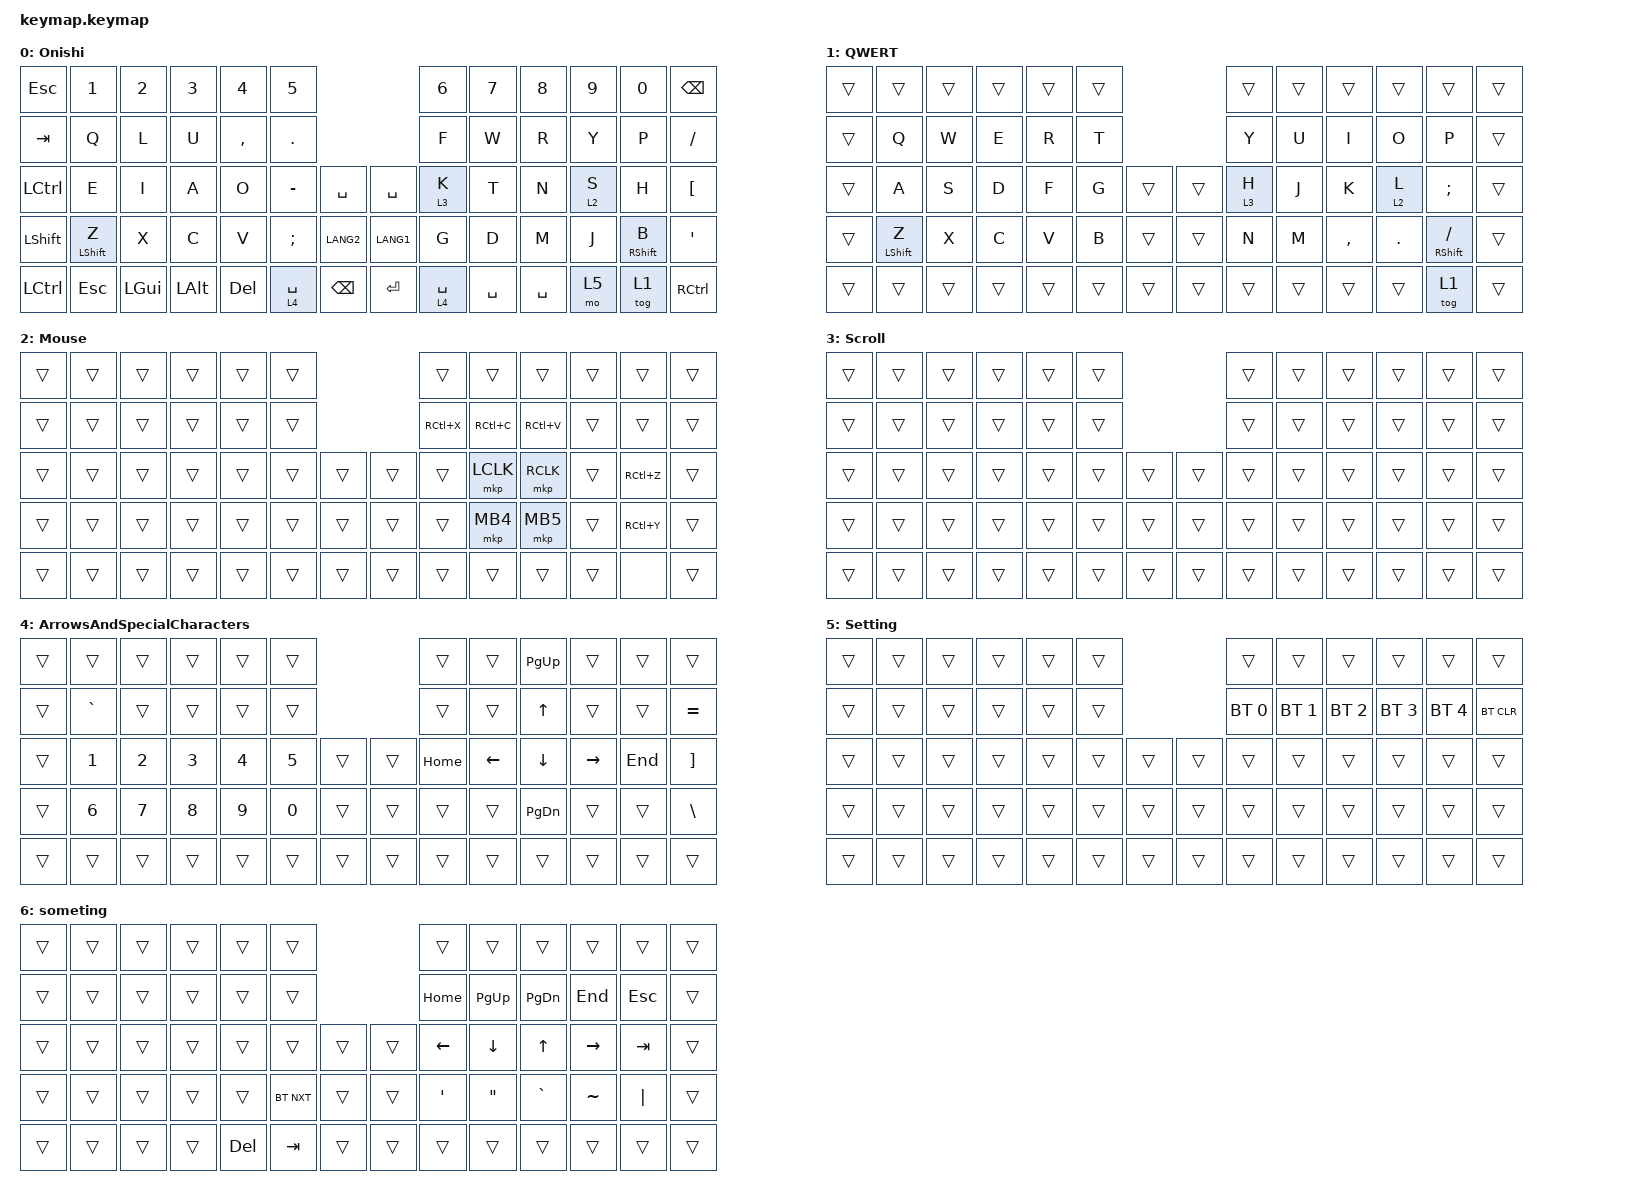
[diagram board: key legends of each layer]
#include <behaviors.dtsi>
#include <dt-bindings/zmk/bt.h>
#include <dt-bindings/zmk/keys.h>
#include <dt-bindings/zmk/pointing.h>

/ {
    combos {
        compatible = "zmk,combos";

        bt_clear {
            bindings = <&bt BT_CLR>;
            key-positions = <28 29>;
            layers = <6>;
        };
    };

    keymap {
        compatible = "zmk,keymap";

        Onishi {
            bindings = <
&kp ESC           &kp N1            &kp N2    &kp N3    &kp N4      &kp N5                                   &kp N6       &kp N7     &kp N8     &kp N9   &kp N0             &kp BSPC
&kp TAB           &kp Q             &kp L     &kp U     &kp COMMA   &kp PERIOD                               &kp F        &kp W      &kp R      &kp Y    &kp P              &kp SLASH
&kp LEFT_CONTROL  &kp E             &kp I     &kp A     &kp O       &kp MINUS      &kp SPACE      &kp SPACE  &lt 3 K      &kp T      &kp N      &lt 2 S  &kp H              &kp LEFT_BRACKET
&kp LSHFT         &mt LEFT_SHIFT Z  &kp X     &kp C     &kp V       &kp SEMICOLON  &kp LANG2      &kp LANG1  &kp G        &kp D      &kp M      &kp J    &mt RIGHT_SHIFT B  &kp SINGLE_QUOTE
&kp LCTRL         &kp ESCAPE        &kp LGUI  &kp LALT  &kp DELETE  &lt 4 SPACE    &kp BACKSPACE  &kp ENTER  &lt 4 SPACE  &kp SPACE  &kp SPACE  &mo 5    &tog 1             &kp RCTRL
            >;
        };

        QWERT {
            bindings = <
&trans  &trans            &trans  &trans  &trans  &trans                  &trans   &trans  &trans     &trans      &trans                 &trans
&trans  &kp Q             &kp W   &kp E   &kp R   &kp T                   &kp Y    &kp U   &kp I      &kp O       &kp P                  &trans
&trans  &kp A             &kp S   &kp D   &kp F   &kp G   &trans  &trans  &lt 3 H  &kp J   &kp K      &lt 2 L     &kp SEMICOLON          &trans
&trans  &mt LEFT_SHIFT Z  &kp X   &kp C   &kp V   &kp B   &trans  &trans  &kp N    &kp M   &kp COMMA  &kp PERIOD  &mt RIGHT_SHIFT SLASH  &trans
&trans  &trans            &trans  &trans  &trans  &trans  &trans  &trans  &trans   &trans  &trans     &trans      &tog 1                 &trans
            >;
        };

        Mouse {
            bindings = <
&trans  &trans  &trans  &trans  &trans  &trans                  &trans     &trans     &trans     &trans  &trans     &trans
&trans  &trans  &trans  &trans  &trans  &trans                  &kp RC(X)  &kp RC(C)  &kp RC(V)  &trans  &trans     &trans
&trans  &trans  &trans  &trans  &trans  &trans  &trans  &trans  &trans     &mkp LCLK  &mkp RCLK  &trans  &kp RC(Z)  &trans
&trans  &trans  &trans  &trans  &trans  &trans  &trans  &trans  &trans     &mkp MB4   &mkp MB5   &trans  &kp RC(Y)  &trans
&trans  &trans  &trans  &trans  &trans  &trans  &trans  &trans  &trans     &trans     &trans     &trans  &none      &trans
            >;
        };

        Scroll {
            bindings = <
&trans  &trans  &trans  &trans  &trans  &trans                  &trans  &trans  &trans  &trans  &trans  &trans
&trans  &trans  &trans  &trans  &trans  &trans                  &trans  &trans  &trans  &trans  &trans  &trans
&trans  &trans  &trans  &trans  &trans  &trans  &trans  &trans  &trans  &trans  &trans  &trans  &trans  &trans
&trans  &trans  &trans  &trans  &trans  &trans  &trans  &trans  &trans  &trans  &trans  &trans  &trans  &trans
&trans  &trans  &trans  &trans  &trans  &trans  &trans  &trans  &trans  &trans  &trans  &trans  &trans  &trans
            >;
        };

        ArrowsAndSpecialCharacters {
            bindings = <
&trans  &trans     &trans  &trans  &trans  &trans                  &trans    &trans    &kp PAGE_UP    &trans     &trans   &trans
&trans  &kp GRAVE  &trans  &trans  &trans  &trans                  &trans    &trans    &kp UP_ARROW   &trans     &trans   &kp EQUAL
&trans  &kp N1     &kp N2  &kp N3  &kp N4  &kp N5  &trans  &trans  &kp HOME  &kp LEFT  &kp DOWN       &kp RIGHT  &kp END  &kp RIGHT_BRACKET
&trans  &kp N6     &kp N7  &kp N8  &kp N9  &kp N0  &trans  &trans  &trans    &trans    &kp PAGE_DOWN  &trans     &trans   &kp BACKSLASH
&trans  &trans     &trans  &trans  &trans  &trans  &trans  &trans  &trans    &trans    &trans         &trans     &trans   &trans
            >;
        };

        Setting {
            bindings = <
&trans  &trans  &trans  &trans  &trans  &trans                  &trans        &trans        &trans        &trans        &trans        &trans
&trans  &trans  &trans  &trans  &trans  &trans                  &bt BT_SEL 0  &bt BT_SEL 1  &bt BT_SEL 2  &bt BT_SEL 3  &bt BT_SEL 4  &bt BT_CLR
&trans  &trans  &trans  &trans  &trans  &trans  &trans  &trans  &trans        &trans        &trans        &trans        &trans        &trans
&trans  &trans  &trans  &trans  &trans  &trans  &trans  &trans  &trans        &trans        &trans        &trans        &trans        &trans
&trans  &trans  &trans  &trans  &trans  &trans  &trans  &trans  &trans        &trans        &trans        &trans        &trans        &trans
            >;
        };

        someting {
            bindings = <
&trans  &trans  &trans  &trans  &trans      &trans                      &trans            &trans     &trans         &trans     &trans      &trans
&trans  &trans  &trans  &trans  &trans      &trans                      &kp HOME          &kp PG_UP  &kp PAGE_DOWN  &kp END    &kp ESCAPE  &trans
&trans  &trans  &trans  &trans  &trans      &trans      &trans  &trans  &kp LEFT          &kp DOWN   &kp UP_ARROW   &kp RIGHT  &kp TAB     &trans
&trans  &trans  &trans  &trans  &trans      &bt BT_NXT  &trans  &trans  &kp SINGLE_QUOTE  &kp DQT    &kp GRAVE      &kp TILDE  &kp PIPE    &trans
&trans  &trans  &trans  &trans  &kp DELETE  &kp TAB     &trans  &trans  &trans            &trans     &trans         &trans     &trans      &trans
            >;
        };
    };
};
